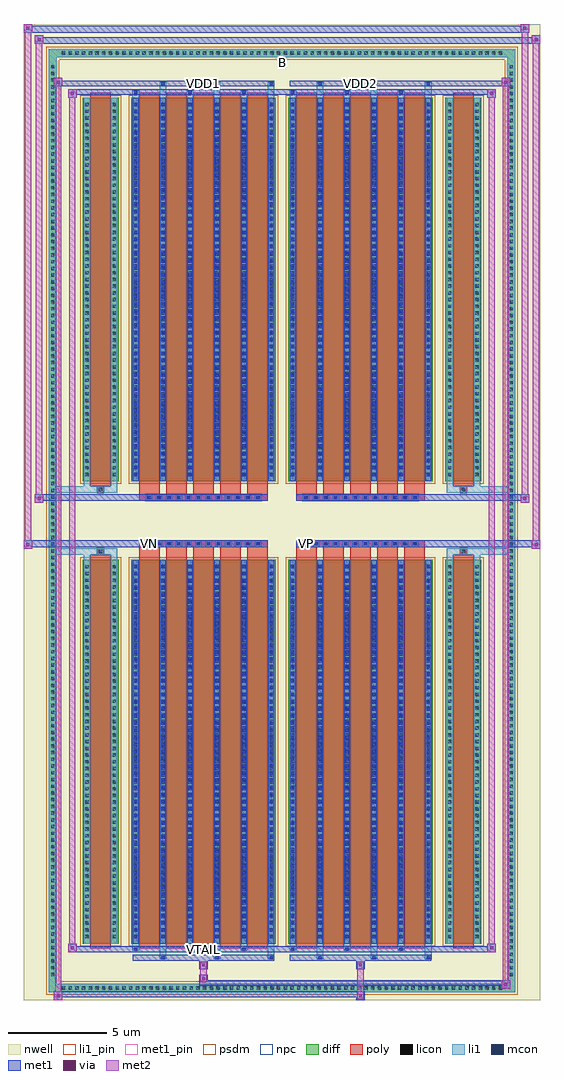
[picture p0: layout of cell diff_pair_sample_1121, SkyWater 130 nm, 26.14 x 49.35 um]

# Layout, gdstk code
import gdstk
lib = gdstk.Library(unit=1e-6, precision=5e-09)
def R(c, l, rs):  # rectangles x0, y0, x1, y1
    for r in rs: c.add(gdstk.rectangle(r[:2], r[2:], *l))
def A(c, l, x, y, w, h, nx, ny, dx, dy):  # array of equal rectangles
    R(c, l, [(x+i*dx, y+j*dy, x+i*dx+w, y+j*dy+h) for i in range(nx) for j in range(ny)])
def P(c, l, *ps):  # polygons
    for p in ps: c.add(gdstk.Polygon(p, *l))
nwell = (64, 20)
diff = (65, 20)
poly = (66, 20)
licon = (66, 44)
li1_pin = (67, 16)
li1 = (67, 20)
mcon = (67, 44)
met1_pin = (68, 16)
met1 = (68, 20)
via = (68, 44)
met2 = (69, 20)
psdm = (94, 20)
npc = (95, 20)

diff_pair_sample_1121 = lib.new_cell('diff_pair_sample_1121')
R(diff_pair_sample_1121, nwell, [(-13.07,-24.24,13.07,25.11), (-10.39,-22.43,-0.01,-0.805), (0.01,-22.43,10.39,-0.805), (-10.39,0.805,-0.01,22.43), (0.01,0.805,10.39,22.43)])
A(diff_pair_sample_1121, diff, -11.255, -23.84, 0.41, 0.41, 66, 2, 0.34, 47.27)
A(diff_pair_sample_1121, diff, -11.8, -23.155, 0.41, 0.41, 1, 136, 0, 0.34)
A(diff_pair_sample_1121, diff, 11.39, -23.155, 0.41, 0.41, 1, 136, 0, 0.34)
R(diff_pair_sample_1121, diff, [(-11.255,-23.84,11.255,-23.43), (-11.8,-23.155,-11.39,23.155), (11.39,-23.155,11.8,23.155), (-10.08,-21.385,-8.26,-1.985), (-7.62,-21.385,-0.32,-1.985), (0.32,-21.385,7.62,-1.985), (8.26,-21.385,10.08,-1.985), (-10.08,1.985,-8.26,21.385), (-7.62,1.985,-0.32,21.385), (0.32,1.985,7.62,21.385), (8.26,1.985,10.08,21.385), (-11.255,23.43,11.255,23.84)])
P(diff_pair_sample_1121, diff, [(11.8,23.84),(-11.8,23.84),(-11.8,-23.43),(-11.39,-23.43),(-11.39,23.43),(11.39,23.43),(11.39,-23.43),(-11.39,-23.43),(-11.8,-23.43),(-11.8,-23.84),(11.8,-23.84)])
A(diff_pair_sample_1121, poly, -7.23, -21.635, 1.04, 19.9, 5, 2, 1.37, 23.37)
A(diff_pair_sample_1121, poly, 0.71, -21.635, 1.04, 19.9, 5, 2, 1.37, 23.37)
A(diff_pair_sample_1121, poly, -7.23, -1.735, 1.04, 0.4, 5, 2, 1.37, 3.07)
A(diff_pair_sample_1121, poly, 0.71, -1.735, 1.04, 0.4, 5, 2, 1.37, 3.07)
A(diff_pair_sample_1121, poly, -6.885, -1.335, 0.33, 0.33, 12, 2, 0.5, 2.34)
A(diff_pair_sample_1121, poly, 1.055, -1.335, 0.33, 0.33, 12, 2, 0.5, 2.34)
R(diff_pair_sample_1121, poly, [(-9.69,-21.635,-8.65,-1.735), (8.65,-21.635,9.69,-1.735), (-9.335,-1.735,-9.005,-1.405), (-9.335,-1.735,-9.005,-1.405), (9.005,-1.735,9.335,-1.405), (9.005,-1.735,9.335,-1.405), (-7.23,-1.335,-0.71,-1.005), (0.71,-1.335,7.23,-1.005), (-7.23,1.005,-0.71,1.335), (0.71,1.005,7.23,1.335), (-9.335,1.405,-9.005,1.735), (-9.335,1.405,-9.005,1.735), (9.005,1.405,9.335,1.735), (9.005,1.405,9.335,1.735), (-9.69,1.735,-8.65,21.635), (8.65,1.735,9.69,21.635)])
A(diff_pair_sample_1121, licon, -11.135, -23.72, 0.17, 0.17, 66, 2, 0.34, 47.27)
A(diff_pair_sample_1121, licon, -11.68, -23.035, 0.17, 0.17, 1, 136, 0, 0.34)
A(diff_pair_sample_1121, licon, 11.51, -23.035, 0.17, 0.17, 1, 136, 0, 0.34)
A(diff_pair_sample_1121, licon, -9.94, -21.12, 0.17, 0.17, 1, 56, 0, 0.34)
A(diff_pair_sample_1121, licon, -8.57, -21.12, 0.17, 0.17, 1, 56, 0, 0.34)
A(diff_pair_sample_1121, licon, -7.48, -21.12, 0.17, 0.17, 6, 56, 1.37, 0.34)
A(diff_pair_sample_1121, licon, 0.46, -21.12, 0.17, 0.17, 6, 56, 1.37, 0.34)
A(diff_pair_sample_1121, licon, 8.4, -21.12, 0.17, 0.17, 1, 56, 0, 0.34)
A(diff_pair_sample_1121, licon, 9.77, -21.12, 0.17, 0.17, 1, 56, 0, 0.34)
A(diff_pair_sample_1121, licon, -6.805, -1.255, 0.17, 0.17, 12, 2, 0.5, 2.34)
A(diff_pair_sample_1121, licon, 1.135, -1.255, 0.17, 0.17, 12, 2, 0.5, 2.34)
A(diff_pair_sample_1121, licon, -9.94, 2.25, 0.17, 0.17, 1, 56, 0, 0.34)
A(diff_pair_sample_1121, licon, -8.57, 2.25, 0.17, 0.17, 1, 56, 0, 0.34)
A(diff_pair_sample_1121, licon, -7.48, 2.25, 0.17, 0.17, 6, 56, 1.37, 0.34)
A(diff_pair_sample_1121, licon, 0.46, 2.25, 0.17, 0.17, 6, 56, 1.37, 0.34)
A(diff_pair_sample_1121, licon, 8.4, 2.25, 0.17, 0.17, 1, 56, 0, 0.34)
A(diff_pair_sample_1121, licon, 9.77, 2.25, 0.17, 0.17, 1, 56, 0, 0.34)
R(diff_pair_sample_1121, licon, [(-9.255,-1.655,-9.085,-1.485), (9.085,-1.655,9.255,-1.485), (-9.255,1.485,-9.085,1.655), (9.085,1.485,9.255,1.655)])
R(diff_pair_sample_1121, li1_pin, [(-0.25,22.93,0.25,23.43)])
A(diff_pair_sample_1121, li1, -11.215, -23.8, 0.33, 0.33, 66, 2, 0.34, 47.27)
A(diff_pair_sample_1121, li1, -11.76, -23.115, 0.33, 0.33, 1, 136, 0, 0.34)
A(diff_pair_sample_1121, li1, 11.43, -23.115, 0.33, 0.33, 1, 136, 0, 0.34)
A(diff_pair_sample_1121, li1, -6.19, -22.19, 0.33, 0.805, 3, 2, 2.74, 43.575)
A(diff_pair_sample_1121, li1, -6.11, -22.19, 0.17, 0.17, 3, 2, 2.74, 44.21)
A(diff_pair_sample_1121, li1, 1.75, -22.19, 0.33, 0.805, 3, 2, 2.74, 43.575)
A(diff_pair_sample_1121, li1, 1.83, -22.19, 0.17, 0.17, 3, 2, 2.74, 44.21)
A(diff_pair_sample_1121, li1, -7.56, -21.76, 0.33, 0.375, 3, 2, 2.74, 43.145)
A(diff_pair_sample_1121, li1, -7.48, -21.76, 0.17, 0.17, 3, 2, 2.74, 43.35)
A(diff_pair_sample_1121, li1, 0.38, -21.76, 0.33, 0.375, 3, 2, 2.74, 43.145)
A(diff_pair_sample_1121, li1, 0.46, -21.76, 0.17, 0.17, 3, 2, 2.74, 43.35)
A(diff_pair_sample_1121, li1, -7.56, -21.385, 0.33, 19.4, 6, 2, 1.37, 23.37)
A(diff_pair_sample_1121, li1, 0.38, -21.385, 0.33, 19.4, 6, 2, 1.37, 23.37)
A(diff_pair_sample_1121, li1, -10.02, -21.2, 0.33, 0.33, 1, 56, 0, 0.34)
A(diff_pair_sample_1121, li1, -8.65, -21.2, 0.33, 0.33, 1, 56, 0, 0.34)
A(diff_pair_sample_1121, li1, -7.56, -21.2, 0.33, 0.33, 6, 56, 1.37, 0.34)
A(diff_pair_sample_1121, li1, 0.38, -21.2, 0.33, 0.33, 6, 56, 1.37, 0.34)
A(diff_pair_sample_1121, li1, 8.32, -21.2, 0.33, 0.33, 1, 56, 0, 0.34)
A(diff_pair_sample_1121, li1, 9.69, -21.2, 0.33, 0.33, 1, 56, 0, 0.34)
A(diff_pair_sample_1121, li1, -7.48, -21.13, 0.17, 0.17, 6, 53, 1.37, 0.36)
A(diff_pair_sample_1121, li1, -7.48, -21.13, 0.17, 18.89, 6, 2, 1.37, 23.37)
A(diff_pair_sample_1121, li1, 0.46, -21.13, 0.17, 0.17, 6, 53, 1.37, 0.36)
A(diff_pair_sample_1121, li1, 0.46, -21.13, 0.17, 18.89, 6, 2, 1.37, 23.37)
A(diff_pair_sample_1121, li1, -6.885, -1.335, 0.33, 0.33, 12, 2, 0.5, 2.34)
A(diff_pair_sample_1121, li1, 1.055, -1.335, 0.33, 0.33, 12, 2, 0.5, 2.34)
A(diff_pair_sample_1121, li1, -10.02, 2.17, 0.33, 0.33, 1, 56, 0, 0.34)
A(diff_pair_sample_1121, li1, -8.65, 2.17, 0.33, 0.33, 1, 56, 0, 0.34)
A(diff_pair_sample_1121, li1, -7.56, 2.17, 0.33, 0.33, 6, 56, 1.37, 0.34)
A(diff_pair_sample_1121, li1, 0.38, 2.17, 0.33, 0.33, 6, 56, 1.37, 0.34)
A(diff_pair_sample_1121, li1, 8.32, 2.17, 0.33, 0.33, 1, 56, 0, 0.34)
A(diff_pair_sample_1121, li1, 9.69, 2.17, 0.33, 0.33, 1, 56, 0, 0.34)
A(diff_pair_sample_1121, li1, -7.48, 2.24, 0.17, 0.17, 6, 53, 1.37, 0.36)
A(diff_pair_sample_1121, li1, 0.46, 2.24, 0.17, 0.17, 6, 53, 1.37, 0.36)
R(diff_pair_sample_1121, li1, [(-11.8,-23.84,-11.39,-23.43), (-11.8,-23.84,-11.39,-23.43), (-11.39,-23.84,11.39,-23.43), (11.39,-23.84,11.8,-23.43), (11.39,-23.84,11.8,-23.43), (-11.8,-23.43,-11.39,23.43), (11.39,-23.43,11.8,23.43), (-10.02,-21.385,-9.69,-1.985), (-8.65,-21.385,-8.32,-1.985), (8.32,-21.385,8.65,-1.985), (9.69,-21.385,10.02,-1.985), (-10.02,-1.985,-9.69,-1.405), (-8.65,-1.985,-8.32,-1.405), (8.32,-1.985,8.65,-1.405), (9.69,-1.985,10.02,-1.405), (-11.8,-1.735,-9.335,-1.405), (-10.02,-1.735,-9.335,-1.405), (-9.335,-1.735,-9.005,-1.405), (-9.005,-1.735,-8.32,-1.405), (8.32,-1.735,9.005,-1.405), (9.005,-1.735,9.335,-1.405), (9.005,-1.735,11.8,-1.405), (9.335,-1.735,10.02,-1.405), (-11.8,1.405,-9.335,1.735), (-10.02,1.405,-9.335,1.735), (-10.02,1.405,-9.69,1.985), (-9.335,1.405,-9.005,1.735), (-9.005,1.405,-8.32,1.735), (-8.65,1.405,-8.32,1.985), (8.32,1.405,9.005,1.735), (8.32,1.405,8.65,1.985), (9.005,1.405,9.335,1.735), (9.005,1.405,11.8,1.735), (9.335,1.405,10.02,1.735), (9.69,1.405,10.02,1.985), (-10.02,1.985,-9.69,21.385), (-8.65,1.985,-8.32,21.385), (8.32,1.985,8.65,21.385), (9.69,1.985,10.02,21.385), (-11.8,23.43,-11.39,23.84), (-11.8,23.43,-11.39,23.84), (-11.39,23.43,11.39,23.84), (11.39,23.43,11.8,23.84), (11.39,23.43,11.8,23.84)])
A(diff_pair_sample_1121, mcon, -6.11, -22.19, 0.17, 0.17, 3, 2, 2.74, 44.21)
A(diff_pair_sample_1121, mcon, 1.83, -22.19, 0.17, 0.17, 3, 2, 2.74, 44.21)
A(diff_pair_sample_1121, mcon, -7.48, -21.76, 0.17, 0.17, 3, 2, 2.74, 43.35)
A(diff_pair_sample_1121, mcon, 0.46, -21.76, 0.17, 0.17, 3, 2, 2.74, 43.35)
A(diff_pair_sample_1121, mcon, -7.48, -21.13, 0.17, 0.17, 6, 53, 1.37, 0.36)
A(diff_pair_sample_1121, mcon, 0.46, -21.13, 0.17, 0.17, 6, 53, 1.37, 0.36)
A(diff_pair_sample_1121, mcon, -6.805, -1.255, 0.17, 0.17, 12, 2, 0.5, 2.34)
A(diff_pair_sample_1121, mcon, 1.135, -1.255, 0.17, 0.17, 12, 2, 0.5, 2.34)
A(diff_pair_sample_1121, mcon, -7.48, 2.24, 0.17, 0.17, 6, 53, 1.37, 0.36)
A(diff_pair_sample_1121, mcon, 0.46, 2.24, 0.17, 0.17, 6, 53, 1.37, 0.36)
R(diff_pair_sample_1121, met1_pin, [(-4.105,-21.8,-3.835,-21.53), (-6.855,-1.295,-6.585,-1.025), (1.085,-1.295,1.355,-1.025), (-4.105,21.98,-3.835,22.25), (3.835,21.98,4.105,22.25)])
A(diff_pair_sample_1121, met1, -6.17, -22.25, 0.29, 0.29, 3, 2, 2.74, 44.21)
A(diff_pair_sample_1121, met1, 1.77, -22.25, 0.29, 0.29, 3, 2, 2.74, 44.21)
A(diff_pair_sample_1121, met1, -7.54, -21.82, 0.29, 0.29, 3, 2, 2.74, 43.35)
A(diff_pair_sample_1121, met1, 0.4, -21.82, 0.29, 0.29, 3, 2, 2.74, 43.35)
A(diff_pair_sample_1121, met1, -7.54, -21.385, 0.29, 19.4, 6, 2, 1.37, 23.37)
A(diff_pair_sample_1121, met1, 0.4, -21.385, 0.29, 19.4, 6, 2, 1.37, 23.37)
A(diff_pair_sample_1121, met1, -7.54, -21.19, 0.29, 0.29, 6, 53, 1.37, 0.36)
A(diff_pair_sample_1121, met1, 0.4, -21.19, 0.29, 0.29, 6, 53, 1.37, 0.36)
A(diff_pair_sample_1121, met1, -6.865, -1.315, 0.29, 0.29, 12, 2, 0.5, 2.34)
A(diff_pair_sample_1121, met1, 1.075, -1.315, 0.29, 0.29, 12, 2, 0.5, 2.34)
A(diff_pair_sample_1121, met1, -7.54, 2.18, 0.29, 0.29, 6, 53, 1.37, 0.36)
A(diff_pair_sample_1121, met1, 0.4, 2.18, 0.29, 0.29, 6, 53, 1.37, 0.36)
R(diff_pair_sample_1121, met1, [(-11.53,-24.24,-11.1,-23.81), (3.755,-24.24,4.185,-23.81), (-11.53,-24.1,4.185,-23.81), (11.1,-23.67,11.53,-23.24), (-4.185,-23.53,11.53,-23.24), (-4.185,-23.39,-3.755,-22.96), (-4.185,-22.68,-3.755,-22.25), (3.755,-22.68,4.185,-22.25), (-7.54,-22.25,-0.4,-21.96), (0.4,-22.25,7.54,-21.96), (-10.82,-21.82,-10.39,-21.39), (-10.82,-21.82,-7.54,-21.53), (-7.54,-21.82,-0.4,-21.53), (-0.4,-21.82,0.4,-21.53), (0.4,-21.82,7.54,-21.53), (7.54,-21.82,10.82,-21.53), (10.39,-21.82,10.82,-21.39), (-13.07,-1.435,-12.64,-1.005), (12.64,-1.435,13.07,-1.005), (-13.07,-1.335,-0.71,-1.005), (-7.23,-1.335,-0.71,-1.005), (0.71,-1.335,7.23,-1.005), (0.71,-1.335,13.07,-1.005), (-12.5,0.905,-12.07,1.335), (12.07,0.905,12.5,1.335), (-12.5,1.005,-7.23,1.335), (-7.23,1.005,-0.71,1.335), (0.71,1.005,7.23,1.335), (7.23,1.005,12.5,1.335), (-10.82,21.39,-10.39,21.82), (10.39,21.39,10.82,21.82), (-10.82,21.53,-7.54,21.82), (-7.54,21.53,-0.4,21.82), (-0.4,21.53,0.4,21.82), (0.4,21.53,7.54,21.82), (7.54,21.53,10.82,21.82), (-11.53,21.96,-11.1,22.39), (-11.53,21.96,-7.54,22.25), (-7.54,21.96,-0.4,22.25), (0.4,21.96,7.54,22.25), (7.54,21.96,11.53,22.25), (11.1,21.96,11.53,22.39), (-12.5,24.11,-12.07,24.54), (-12.5,24.11,-10.39,24.44), (-10.39,24.11,10.39,24.44), (10.39,24.11,13.07,24.44), (12.64,24.11,13.07,24.54), (-13.07,24.68,-12.64,25.11), (-13.07,24.68,-10.39,25.01), (-10.39,24.68,10.39,25.01), (10.39,24.68,12.5,25.01), (12.07,24.68,12.5,25.11)])
R(diff_pair_sample_1121, via, [(-11.39,-24.1,-11.24,-23.95), (3.895,-24.1,4.045,-23.95), (11.24,-23.53,11.39,-23.38), (-4.045,-23.25,-3.895,-23.1), (-4.045,-22.54,-3.895,-22.39), (3.895,-22.54,4.045,-22.39), (-10.68,-21.68,-10.53,-21.53), (10.53,-21.68,10.68,-21.53), (-12.93,-1.295,-12.78,-1.145), (12.78,-1.295,12.93,-1.145), (-12.36,1.045,-12.21,1.195), (12.21,1.045,12.36,1.195), (-10.68,21.53,-10.53,21.68), (10.53,21.53,10.68,21.68), (-11.39,22.1,-11.24,22.25), (11.24,22.1,11.39,22.25), (-12.36,24.25,-12.21,24.4), (12.78,24.25,12.93,24.4), (-12.93,24.82,-12.78,24.97), (12.21,24.82,12.36,24.97)])
R(diff_pair_sample_1121, met2, [(-11.53,-24.24,-11.1,-23.81), (-11.46,-24.24,-11.17,22.39), (-11.17,-24.24,-11.1,-23.81), (-11.48,-24.19,-11.15,-23.86), (3.805,-24.19,4.135,-23.86), (3.805,-23.86,4.135,-22.63), (11.1,-23.67,11.53,-23.24), (11.17,-23.67,11.46,22.39), (11.46,-23.67,11.53,-23.24), (11.15,-23.62,11.48,-23.29), (-4.135,-23.34,-3.805,-23.01), (-4.135,-23.01,-3.805,-22.63), (-4.135,-22.63,-3.805,-22.3), (3.805,-22.63,4.135,-22.3), (-10.82,-21.82,-10.39,-21.39), (-10.75,-21.82,-10.46,21.82), (-10.46,-21.82,-10.39,-21.39), (10.39,-21.82,10.82,-21.39), (10.46,-21.82,10.75,21.82), (10.75,-21.82,10.82,-21.39), (-10.77,-21.77,-10.44,-21.44), (10.44,-21.77,10.77,-21.44), (-13.07,-1.435,-12.64,-1.005), (-13.02,-1.435,-12.69,25.11), (-12.69,-1.435,-12.64,-1.005), (12.64,-1.435,13.07,-1.005), (12.69,-1.435,13.02,24.54), (13.02,-1.435,13.07,-1.005), (-13.02,-1.385,-12.69,-1.055), (12.69,-1.385,13.02,-1.055), (-12.5,0.905,-12.07,1.335), (-12.45,0.905,-12.12,24.54), (-12.12,0.905,-12.07,1.335), (12.07,0.905,12.5,1.335), (12.12,0.905,12.45,25.11), (12.45,0.905,12.5,1.335), (-12.45,0.955,-12.12,1.285), (12.12,0.955,12.45,1.285), (-10.82,21.39,-10.39,21.82), (-10.46,21.39,-10.39,21.82), (10.39,21.39,10.82,21.82), (10.75,21.39,10.82,21.82), (-10.77,21.44,-10.44,21.77), (10.44,21.44,10.77,21.77), (-11.53,21.96,-11.1,22.39), (-11.17,21.96,-11.1,22.39), (11.1,21.96,11.53,22.39), (11.46,21.96,11.53,22.39), (-11.48,22.01,-11.15,22.34), (11.15,22.01,11.48,22.34), (-12.5,24.11,-12.07,24.54), (-12.12,24.11,-12.07,24.54), (12.64,24.11,13.07,24.54), (13.02,24.11,13.07,24.54), (-12.45,24.16,-12.12,24.49), (12.69,24.16,13.02,24.49), (-13.07,24.68,-12.64,25.11), (-12.69,24.68,-12.64,25.11), (12.07,24.68,12.5,25.11), (12.45,24.68,12.5,25.11), (-13.02,24.73,-12.69,25.06), (12.12,24.73,12.45,25.06)])
R(diff_pair_sample_1121, psdm, [(-10.21,-21.515,-8.13,-1.855), (-7.75,-21.515,-0.19,-1.855), (0.19,-21.515,7.75,-1.855), (8.13,-21.515,10.21,-1.855), (-10.21,1.855,-8.13,21.515), (-7.75,1.855,-0.19,21.515), (0.19,1.855,7.75,21.515), (8.13,1.855,10.21,21.515)])
P(diff_pair_sample_1121, psdm, [(11.93,23.97),(-11.93,23.97),(-11.93,-23.3),(-11.26,-23.3),(-11.26,23.3),(11.26,23.3),(11.26,-23.3),(-11.26,-23.3),(-11.93,-23.3),(-11.93,-23.97),(11.93,-23.97)])
A(diff_pair_sample_1121, npc, -6.905, -1.355, 0.37, 0.37, 12, 2, 0.5, 2.34)
A(diff_pair_sample_1121, npc, 1.035, -1.355, 0.37, 0.37, 12, 2, 0.5, 2.34)
R(diff_pair_sample_1121, npc, [(-9.355,-1.755,-8.985,-1.385), (8.985,-1.755,9.355,-1.385), (-6.905,-1.355,-6.035,-0.985), (-6.905,-1.355,-6.035,-0.985), (-6.405,-1.355,-5.535,-0.985), (-6.405,-1.355,-5.535,-0.985), (-5.905,-1.355,-5.035,-0.985), (-5.905,-1.355,-5.035,-0.985), (-5.405,-1.355,-4.535,-0.985), (-5.405,-1.355,-4.535,-0.985), (-4.905,-1.355,-4.035,-0.985), (-4.905,-1.355,-4.035,-0.985), (-4.405,-1.355,-3.535,-0.985), (-4.405,-1.355,-3.535,-0.985), (-3.905,-1.355,-3.035,-0.985), (-3.905,-1.355,-3.035,-0.985), (-3.405,-1.355,-2.535,-0.985), (-3.405,-1.355,-2.535,-0.985), (-2.905,-1.355,-2.035,-0.985), (-2.905,-1.355,-2.035,-0.985), (-2.405,-1.355,-1.535,-0.985), (-2.405,-1.355,-1.535,-0.985), (-1.905,-1.355,-1.035,-0.985), (-1.905,-1.355,-1.035,-0.985), (1.035,-1.355,1.905,-0.985), (1.035,-1.355,1.905,-0.985), (1.535,-1.355,2.405,-0.985), (1.535,-1.355,2.405,-0.985), (2.035,-1.355,2.905,-0.985), (2.035,-1.355,2.905,-0.985), (2.535,-1.355,3.405,-0.985), (2.535,-1.355,3.405,-0.985), (3.035,-1.355,3.905,-0.985), (3.035,-1.355,3.905,-0.985), (3.535,-1.355,4.405,-0.985), (3.535,-1.355,4.405,-0.985), (4.035,-1.355,4.905,-0.985), (4.035,-1.355,4.905,-0.985), (4.535,-1.355,5.405,-0.985), (4.535,-1.355,5.405,-0.985), (5.035,-1.355,5.905,-0.985), (5.035,-1.355,5.905,-0.985), (5.535,-1.355,6.405,-0.985), (5.535,-1.355,6.405,-0.985), (6.035,-1.355,6.905,-0.985), (6.035,-1.355,6.905,-0.985), (-6.905,0.985,-6.035,1.355), (-6.905,0.985,-6.035,1.355), (-6.405,0.985,-5.535,1.355), (-6.405,0.985,-5.535,1.355), (-5.905,0.985,-5.035,1.355), (-5.905,0.985,-5.035,1.355), (-5.405,0.985,-4.535,1.355), (-5.405,0.985,-4.535,1.355), (-4.905,0.985,-4.035,1.355), (-4.905,0.985,-4.035,1.355), (-4.405,0.985,-3.535,1.355), (-4.405,0.985,-3.535,1.355), (-3.905,0.985,-3.035,1.355), (-3.905,0.985,-3.035,1.355), (-3.405,0.985,-2.535,1.355), (-3.405,0.985,-2.535,1.355), (-2.905,0.985,-2.035,1.355), (-2.905,0.985,-2.035,1.355), (-2.405,0.985,-1.535,1.355), (-2.405,0.985,-1.535,1.355), (-1.905,0.985,-1.035,1.355), (-1.905,0.985,-1.035,1.355), (1.035,0.985,1.905,1.355), (1.035,0.985,1.905,1.355), (1.535,0.985,2.405,1.355), (1.535,0.985,2.405,1.355), (2.035,0.985,2.905,1.355), (2.035,0.985,2.905,1.355), (2.535,0.985,3.405,1.355), (2.535,0.985,3.405,1.355), (3.035,0.985,3.905,1.355), (3.035,0.985,3.905,1.355), (3.535,0.985,4.405,1.355), (3.535,0.985,4.405,1.355), (4.035,0.985,4.905,1.355), (4.035,0.985,4.905,1.355), (4.535,0.985,5.405,1.355), (4.535,0.985,5.405,1.355), (5.035,0.985,5.905,1.355), (5.035,0.985,5.905,1.355), (5.535,0.985,6.405,1.355), (5.535,0.985,6.405,1.355), (6.035,0.985,6.905,1.355), (6.035,0.985,6.905,1.355), (-9.355,1.385,-8.985,1.755), (8.985,1.385,9.355,1.755)])
diff_pair_sample_1121.add(gdstk.Label('VTAIL', (-3.97,-21.665), layer=68, texttype=5))
diff_pair_sample_1121.add(gdstk.Label('VN', (-6.72,-1.16), layer=68, texttype=5))
diff_pair_sample_1121.add(gdstk.Label('VP', (1.22,-1.16), layer=68, texttype=5))
diff_pair_sample_1121.add(gdstk.Label('B', (0,23.18), layer=67, texttype=5))
diff_pair_sample_1121.add(gdstk.Label('VDD2', (3.97,22.115), layer=68, texttype=5))
diff_pair_sample_1121.add(gdstk.Label('VDD1', (-3.97,22.115), layer=68, texttype=5))

lib.write_gds('diff_pair_sample_1121.gds')
